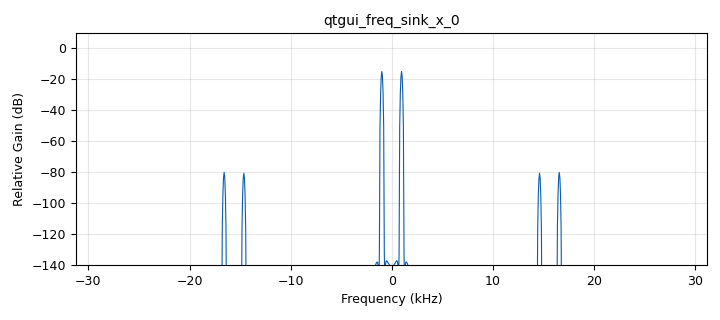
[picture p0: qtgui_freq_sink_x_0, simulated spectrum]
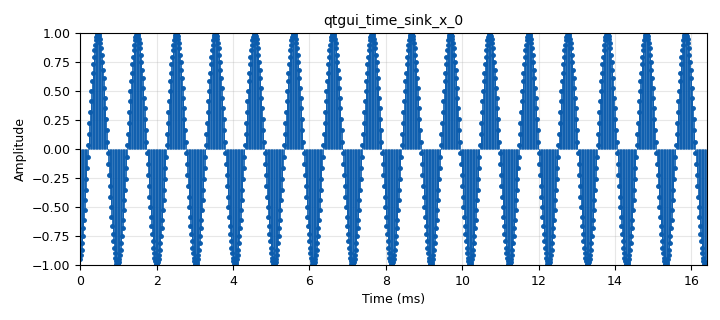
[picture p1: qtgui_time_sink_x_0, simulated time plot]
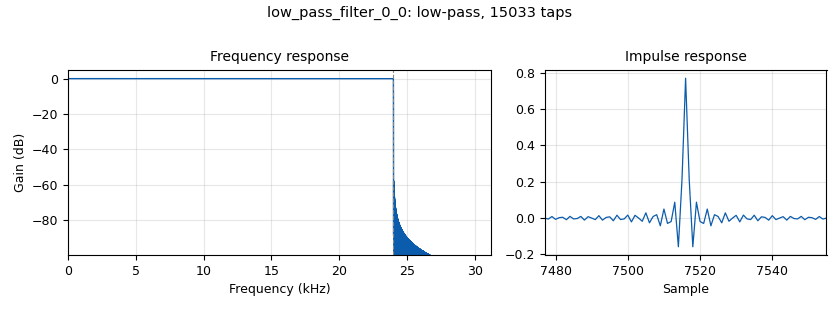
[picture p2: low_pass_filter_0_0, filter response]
options:
  parameters:
    generate_options: qt_gui
    id: lab3_2
    output_language: python
    title: Not titled yet
  states: {}

blocks:
- name: final_samp_rate
  id: variable
  parameters:
    value: '62400'
  states: {}
- name: freq
  id: variable_qtgui_range
  parameters:
    start: '0'
    step: '1000'
    stop: '24000'
    value: '1000'
  states: {}
- name: samp_rate
  id: variable
  parameters:
    value: '48000'
  states: {}
- name: analog_const_source_x_0
  id: analog_const_source_x
  parameters:
    const: '2'
    type: float
  states: {}
- name: analog_const_source_x_0_0
  id: analog_const_source_x
  parameters:
    const: '2'
    type: float
  states: {}
- name: analog_const_source_x_0_0_0
  id: analog_const_source_x
  parameters:
    const: '2'
    type: float
  states: {}
- name: analog_sig_source_x_0
  id: analog_sig_source_x
  parameters:
    amp: '1'
    freq: freq
    offset: '0'
    phase: '0'
    samp_rate: samp_rate
    type: float
    waveform: analog.GR_COS_WAVE
  states: {}
- name: blocks_add_xx_0
  id: blocks_add_xx
  parameters:
    type: float
  states: {}
- name: blocks_add_xx_0_0
  id: blocks_add_xx
  parameters:
    type: float
  states: {}
- name: blocks_add_xx_0_0_0
  id: blocks_add_xx
  parameters:
    type: float
  states: {}
- name: blocks_deinterleave_0
  id: blocks_deinterleave
  parameters:
    num_streams: '3'
    type: float
  states: {}
- name: blocks_delay_0
  id: blocks_delay
  parameters:
    delay: '1'
    type: float
  states: {}
- name: blocks_divide_xx_0
  id: blocks_divide_xx
  parameters:
    type: float
  states: {}
- name: blocks_divide_xx_0_0
  id: blocks_divide_xx
  parameters:
    type: float
  states: {}
- name: blocks_divide_xx_0_0_0
  id: blocks_divide_xx
  parameters:
    type: float
  states: {}
- name: blocks_interleave_0
  id: blocks_interleave
  parameters:
    num_streams: '4'
    type: float
  states: {}
- name: blocks_null_sink_0
  id: blocks_null_sink
  parameters:
    num_inputs: '2'
    type: float
  states: {}
- name: blocks_throttle_0
  id: blocks_throttle
  parameters:
    samples_per_second: samp_rate
    type: float
  states: {}
- name: low_pass_filter_0_0
  id: low_pass_filter
  parameters:
    cutoff_freq: '24000'
    gain: '1'
    interp: '1'
    samp_rate: final_samp_rate
    type: interp_fir_filter_fff
    width: '10'
    win: window.WIN_HAMMING
  states: {}
- name: qtgui_freq_sink_x_0
  id: qtgui_freq_sink_x
  parameters:
    bw: final_samp_rate
    fc: '0'
    fftsize: '1024'
    type: float
  states: {}
- name: qtgui_time_sink_x_0
  id: qtgui_time_sink_x
  parameters:
    size: '1024'
    srate: final_samp_rate
    stemplot: 'True'
    type: float
  states: {}

connections:
- [analog_const_source_x_0, '0', blocks_divide_xx_0, '1']
- [analog_const_source_x_0_0, '0', blocks_divide_xx_0_0, '1']
- [analog_const_source_x_0_0_0, '0', blocks_divide_xx_0_0_0, '1']
- [analog_sig_source_x_0, '0', blocks_throttle_0, '0']
- [blocks_add_xx_0, '0', blocks_divide_xx_0, '0']
- [blocks_add_xx_0_0, '0', blocks_divide_xx_0_0, '0']
- [blocks_add_xx_0_0_0, '0', blocks_divide_xx_0_0_0, '0']
- [blocks_deinterleave_0, '0', blocks_null_sink_0, '1']
- [blocks_deinterleave_0, '1', blocks_null_sink_0, '0']
- [blocks_deinterleave_0, '2', low_pass_filter_0_0, '0']
- [blocks_delay_0, '0', blocks_add_xx_0, '1']
- [blocks_delay_0, '0', blocks_add_xx_0_0_0, '0']
- [blocks_delay_0, '0', blocks_interleave_0, '0']
- [blocks_divide_xx_0, '0', blocks_add_xx_0_0, '0']
- [blocks_divide_xx_0, '0', blocks_add_xx_0_0_0, '1']
- [blocks_divide_xx_0, '0', blocks_interleave_0, '2']
- [blocks_divide_xx_0_0, '0', blocks_interleave_0, '3']
- [blocks_divide_xx_0_0_0, '0', blocks_interleave_0, '1']
- [blocks_interleave_0, '0', blocks_deinterleave_0, '0']
- [blocks_throttle_0, '0', blocks_add_xx_0, '0']
- [blocks_throttle_0, '0', blocks_add_xx_0_0, '1']
- [blocks_throttle_0, '0', blocks_delay_0, '0']
- [low_pass_filter_0_0, '0', qtgui_freq_sink_x_0, '0']
- [low_pass_filter_0_0, '0', qtgui_time_sink_x_0, '0']

metadata:
  file_format: 1
  grc_version: 3.10.5.1
